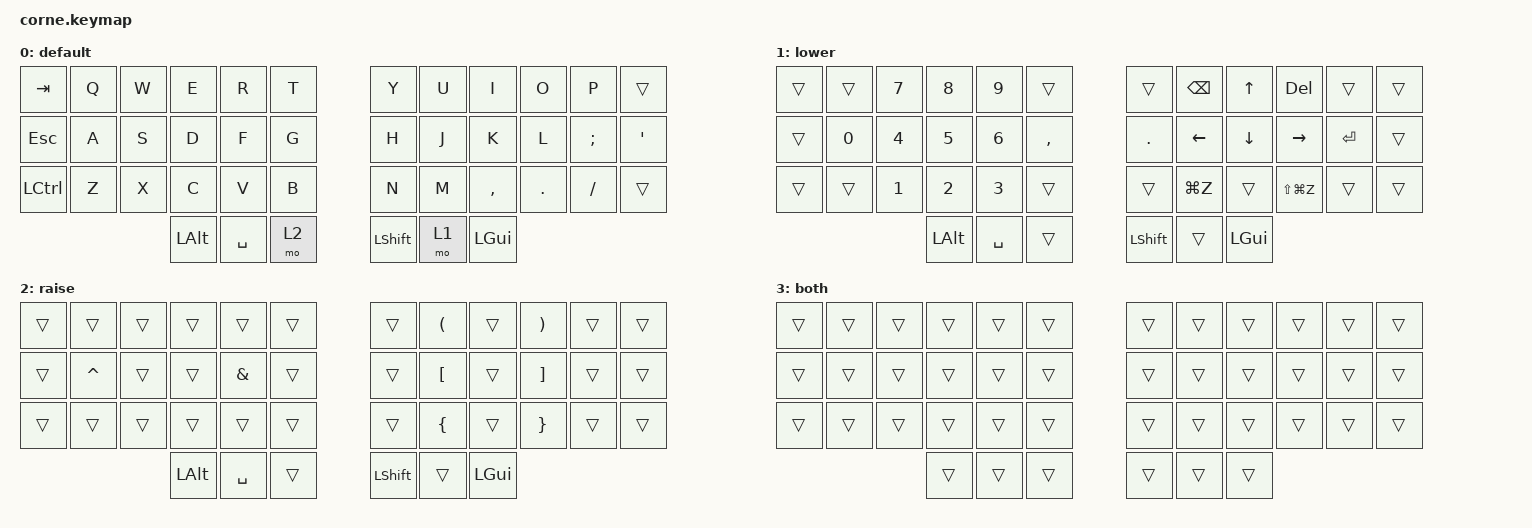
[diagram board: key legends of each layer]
/*
 * Copyright (c) 2020 The ZMK Contributors
 *
 * SPDX-License-Identifier: MIT
 */

#include <behaviors.dtsi>
#include <dt-bindings/zmk/keys.h>

/ {
    keymap {
        compatible = "zmk,keymap";

        default {
            // -----------------------------------------------------------------------------------------
            // |  TAB |  Q  |  W  |  E  |  R  |  T  |   |  Y  |  U   |  I  |  O  |  P  | BSPC |
            // | CTRL |  A  |  S  |  D  |  F  |  G  |   |  H  |  J   |  K  |  L  |  ;  |  '   |
            // | SHFT |  Z  |  X  |  C  |  V  |  B  |   |  N  |  M   |  ,  |  .  |  /  | ESC  |
            //                    | GUI | LWR | SPC |   | ENT | RSE  | ALT |

            bindings = <
&kp TAB    &kp Q  &kp W  &kp E     &kp R      &kp T    &kp Y      &kp U  &kp I      &kp O    &kp P     &trans
&kp ESC    &kp A  &kp S  &kp D     &kp F      &kp G    &kp H      &kp J  &kp K      &kp L    &kp SEMI  &kp SQT
&kp LCTRL  &kp Z  &kp X  &kp C     &kp V      &kp B    &kp N      &kp M  &kp COMMA  &kp DOT  &kp FSLH  &trans
                         &kp LALT  &kp SPACE  &mo 2    &kp LSHFT  &mo 1  &kp LGUI
            >;
        };

        lower {
            bindings = <
&trans  &trans  &kp N7  &kp N8    &kp N9     &trans       &trans     &kp BSPC   &kp UP    &kp DEL        &trans   &trans
&trans  &kp N0  &kp N4  &kp N5    &kp N6     &kp COMMA    &kp DOT    &kp LEFT   &kp DOWN  &kp RIGHT      &kp RET  &trans
&trans  &trans  &kp N1  &kp N2    &kp N3     &trans       &trans     &kp LG(Z)  &trans    &kp LS(LG(Z))  &trans   &trans
                        &kp LALT  &kp SPACE  &trans       &kp LSHFT  &trans     &kp LGUI
            >;
        };

        raise {
            bindings = <
&trans  &trans     &trans  &trans    &trans         &trans    &trans     &kp LEFT_PARENTHESIS  &trans    &kp RIGHT_PARENTHESIS  &trans  &trans
&trans  &kp CARET  &trans  &trans    &kp AMPERSAND  &trans    &trans     &kp LBKT              &trans    &kp RBKT               &trans  &trans
&trans  &trans     &trans  &trans    &trans         &trans    &trans     &kp LEFT_BRACE        &trans    &kp RIGHT_BRACE        &trans  &trans
                           &kp LALT  &kp SPACE      &trans    &kp LSHFT  &trans                &kp LGUI
            >;
        };

        both {
            bindings = <
&trans  &trans  &trans  &trans  &trans  &trans    &trans  &trans  &trans  &trans  &trans  &trans
&trans  &trans  &trans  &trans  &trans  &trans    &trans  &trans  &trans  &trans  &trans  &trans
&trans  &trans  &trans  &trans  &trans  &trans    &trans  &trans  &trans  &trans  &trans  &trans
                        &trans  &trans  &trans    &trans  &trans  &trans
            >;
        };
    };

    conditional_layers {
        compatible = "zmk,conditional-layers";

        both {
            if-layers = <2 1>;
            then-layer = <3>;
        };
    };
};
